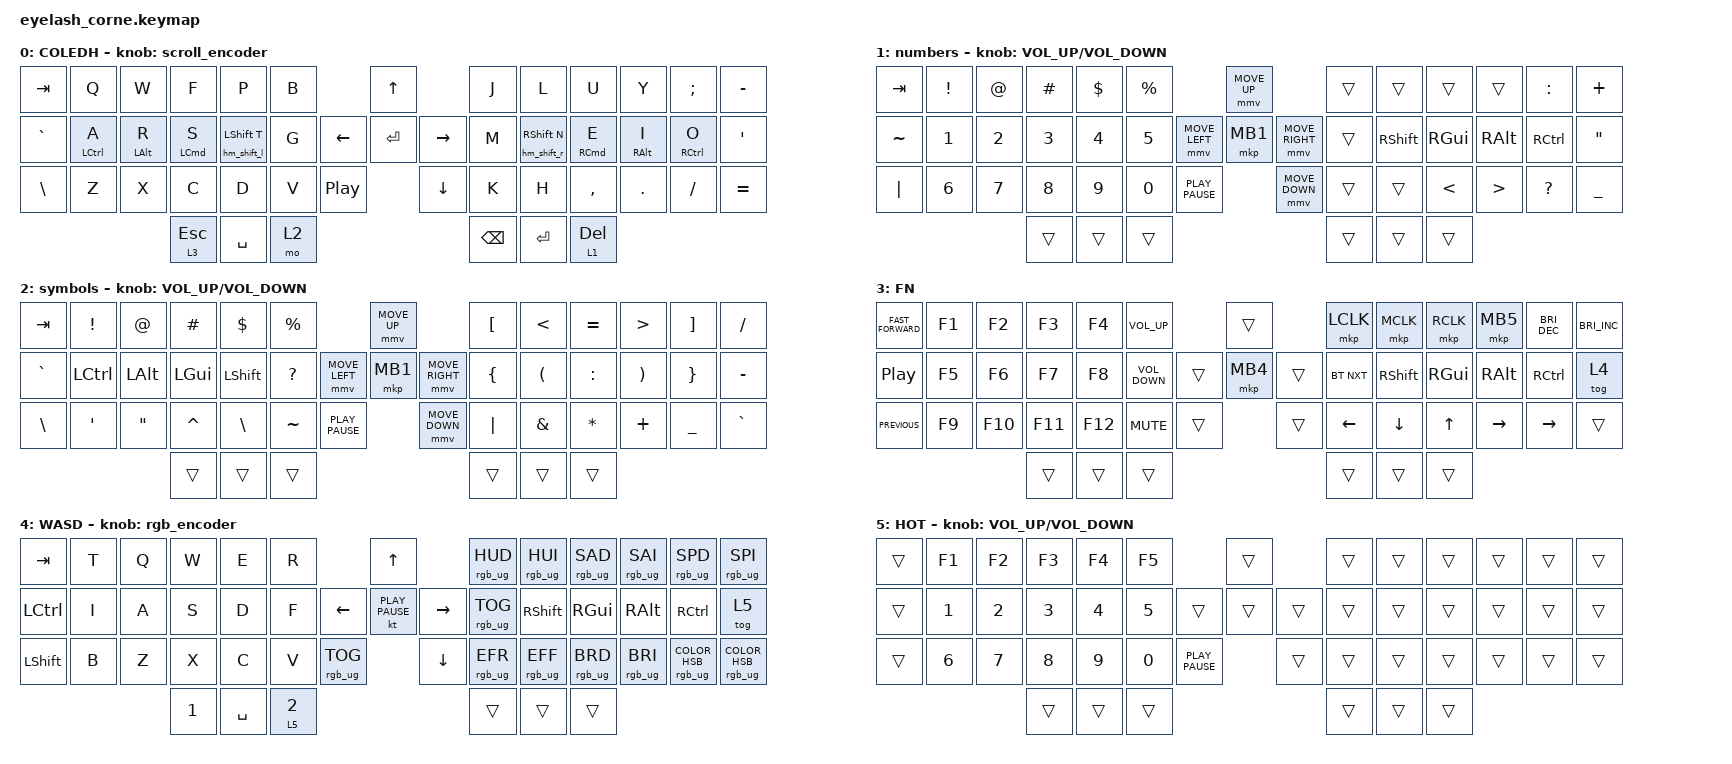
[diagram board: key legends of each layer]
// Source keypos definitions

#include "zmk-helpers/key-labels/eyelash42.h"

#define KEYS_L LT0 LT1 LT2 LT3 LT4 LM0 LM1 LM2 LM3 LM4 LB0 LB1 LB2 LB3 LB4
#define KEYS_R RT0 RT1 RT2 RT3 RT4 RM0 RM1 RM2 RM3 RM4 RB0 RB1 RB2 RB3 RB4
#define KEYS_T LH2 LH1 LH0 RH0 RH1 RH2
#define KEYS_J JS0 JS1 JS2 JS3 JS4 LEC

/* Enable keymap features that require forks or modules */
// #define HAS_UROB

#define HAS_TRI_STATE
#define HAS_MOUSE_KEYS

// #define HAS_MOUSE_TP
// #define HAS_CAPSLOCK
/*
 * Copyright (c) 2020 The ZMK Contributors
 *
 * SPDX-License-Identifier: MIT
 */
// Define layer numbers

#define BASE 0
#define BASE_QWERTY 1
#define NAV_WORD 2
#define NUM_WORD 3
#define SYM_WORD 4
#define NAV 5
#define NUM 6
#define SYM 7
#define FUNC 8
#define ADJUST 9
#define LOWER 10
#define MOUSE_KEYS 11
#define MOUSE_TP 12
#define MOUSE_TP_KEYS 13
#define MOUSE_TP_SET 14

#ifdef HAS_UROB

#define HAS_TRI_STATE
  #define HAS_NUM_WORD

#endif

// ZMK includes

#include <input/processors.dtsi>
#include <zephyr/dt-bindings/input/input-event-codes.h>
#include <behaviors.dtsi>
#include <dt-bindings/zmk/bt.h>
#include <dt-bindings/zmk/keys.h>
#include <dt-bindings/zmk/pointing.h>
#include <dt-bindings/zmk/rgb.h>

// Personal includes

#include "includes/custom_keycodes.dtsi"
#include "includes/settings.dtsi"

//#include "includes/settings_pd.dtsi"

#include "includes/conditional_layers.dtsi"
#include "includes/macros.dtsi"
#include "includes/combos.dtsi"
#include "includes/behaviours_homerow_mods.dtsi"
#include "includes/behaviours_mod_morph.dtsi"
#include "includes/behaviours_other.dtsi"

#ifdef HAS_MOUSE_TP

#define U_TOG_TP_SET &tog MOUSE_TP_SET

#else

#define U_TOG_TP_SET &none

#endif  // HAS_MOUSE_TP
&mmv_input_listener { input-processors = <&zip_xy_scaler 2 1>; };

&msc_input_listener { input-processors = <&zip_scroll_scaler 2 1>; };

&msc {
    acceleration-exponent = <1>;      // 0
    time-to-max-speed-ms = <100>;       // 300
    delay-ms = <0>;                   // 0
};

&mmv {
    time-to-max-speed-ms = <500>;
    acceleration-exponent = <1>;
    trigger-period-ms = <16>;
};

/ {
    behaviors {
        td0: td0 {
            compatible = "zmk,behavior-tap-dance";
            display-name = "Shift/Caps Lock Tap Dance";
            #binding-cells = <0>;
            bindings = <&kp LEFT_SHIFT>, <&kp CAPS>;
        };
    };

    rgb_encoder: rgb_encoder {
        compatible = "zmk,behavior-sensor-rotate";
        #sensor-binding-cells = <0>;
        bindings = <&rgb_ug RGB_BRI>, <&rgb_ug RGB_BRD>;
    };

    scroll_encoder: scroll_encoder {
        compatible = "zmk,behavior-sensor-rotate";
        #sensor-binding-cells = <0>;
        bindings = <&msc SCRL_DOWN>, <&msc SCRL_UP>;

        tap-ms = <100>;
    };

    keymap {
        compatible = "zmk,keymap";

        base_layer {
            bindings = <
&kp TAB        &kp Q                 &kp W             &kp F                 &kp P                    &kp B                                &kp UP               &kp J          &kp L              &kp U                &kp Y            &kp SEMICOLON        &kp MINUS
&kp GRAVE      &hm_l LEFT_CONTROL A  &hm_l LEFT_ALT R  &hm_l LEFT_COMMAND S  &hm_shift_l LEFT_SHIFT T       &kp G                      &kp LEFT  &kp RET   &kp RIGHT  &kp M          &hm_shift_r RIGHT_SHIFT N  &hm_r RIGHT_COMMAND E  &hm_r RIGHT_ALT I  &hm_r RIGHT_CONTROL O  &kp SQT
&kp BACKSLASH  &kp Z                 &kp X             &kp C                 &kp D                    &kp V  &kp C_PLAY_PAUSE              &kp DOWN             &kp K          &kp H              &kp COMMA            &kp PERIOD       &kp SLASH            &kp EQUAL
                                                       &lt 3 ESCAPE          &kp SPACE                &mo 2                                                     &kp BACKSPACE  &kp ENTER          &lt 1 DELETE
            >;

            sensor-bindings = <&scroll_encoder>;
            label = "COLEDH";
        };

        numbers {
            bindings = <
&kp TAB    &kp EXCLAMATION  &kp AT_SIGN  &kp HASH  &kp DOLLAR  &kp PERCENT                                      &mmv MOVE_UP                     &trans  &trans     &trans         &trans            &kp COLON     &kp PLUS
&kp TILDE  &kp N1           &kp N2       &kp N3    &kp N4      &kp N5                           &mmv MOVE_LEFT  &mkp MB1        &mmv MOVE_RIGHT  &trans  &kp RSHFT  &kp RGUI       &kp RALT          &kp RCTRL     &kp DOUBLE_QUOTES
&kp PIPE   &kp N6           &kp N7       &kp N8    &kp N9      &kp N0       &kp K_PLAY_PAUSE                    &mmv MOVE_DOWN                   &trans  &trans     &kp LESS_THAN  &kp GREATER_THAN  &kp QUESTION  &kp UNDER
                                         &trans    &trans      &trans                                                                            &trans  &trans     &trans
            >;

            sensor-bindings = <&inc_dec_kp C_VOLUME_UP C_VOLUME_DOWN>;
        };

        symbols {
            bindings = <
&kp TAB        &kp EXCLAMATION   &kp AT_SIGN        &kp HASH      &kp DOLLAR      &kp PERCENT                                       &mmv MOVE_UP                     &kp LEFT_BRACKET  &kp LESS_THAN         &kp EQUAL     &kp GREATER_THAN       &kp RIGHT_BRACKET  &kp SLASH
&kp GRAVE      &kp LEFT_CONTROL  &kp LEFT_ALT       &kp LEFT_GUI  &kp LEFT_SHIFT  &kp QUESTION                      &mmv MOVE_LEFT  &mkp MB1        &mmv MOVE_RIGHT  &kp LEFT_BRACE    &kp LEFT_PARENTHESIS  &kp COLON     &kp RIGHT_PARENTHESIS  &kp RIGHT_BRACE    &kp MINUS
&kp BACKSLASH  &kp SQT           &kp DOUBLE_QUOTES  &kp CARET     &kp BACKSLASH   &kp TILDE     &kp K_PLAY_PAUSE                    &mmv MOVE_DOWN                   &kp PIPE          &kp AMPERSAND         &kp ASTERISK  &kp PLUS               &kp UNDERSCORE     &kp GRAVE
                                                    &trans        &trans          &trans                                                                             &trans            &trans                &trans
            >;

            sensor-bindings = <&inc_dec_kp C_VOLUME_UP C_VOLUME_DOWN>;
        };

        function_layer {
            bindings = <
&kp C_FAST_FORWARD  &kp F1  &kp F2   &kp F3   &kp F4   &kp C_VOLUME_UP                      &trans            &mkp LCLK   &mkp MCLK  &mkp RCLK  &mkp MB5   &kp C_BRIGHTNESS_DEC  &kp C_BRIGHTNESS_INC
&kp C_PLAY_PAUSE    &kp F5  &kp F6   &kp F7   &kp F8   &kp C_VOLUME_DOWN            &trans  &mkp MB4  &trans  &bt BT_NXT  &kp RSHFT  &kp RGUI   &kp RALT   &kp RCTRL             &tog 4
&kp C_PREVIOUS      &kp F9  &kp F10  &kp F11  &kp F12  &kp K_MUTE         &trans            &trans            &kp LEFT    &kp DOWN   &kp UP     &kp RIGHT  &kp RIGHT             &trans
                                     &trans   &trans   &trans                                                 &trans      &trans     &trans
            >;

            label = "FN";
        };

        gaming_layer {
            bindings = <
&kp TAB    &kp T  &kp Q  &kp W   &kp E      &kp R                                        &kp UP                       &rgb_ug RGB_HUD  &rgb_ug RGB_HUI  &rgb_ug RGB_SAD  &rgb_ug RGB_SAI  &rgb_ug RGB_SPD                    &rgb_ug RGB_SPI
&kp LCTRL  &kp I  &kp A  &kp S   &kp D      &kp F                              &kp LEFT  &kt K_PLAY_PAUSE  &kp RIGHT  &rgb_ug RGB_TOG  &kp RSHFT        &kp RGUI         &kp RALT         &kp RCTRL                          &tog 5
&kp LSHFT  &kp B  &kp Z  &kp X   &kp C      &kp V           &rgb_ug RGB_TOG              &kp DOWN                     &rgb_ug RGB_EFR  &rgb_ug RGB_EFF  &rgb_ug RGB_BRD  &rgb_ug RGB_BRI  &rgb_ug RGB_COLOR_HSB(302,100,50)  &rgb_ug RGB_COLOR_HSB(181,100,50)
                         &kp N1  &kp SPACE  &lt 5 NUMBER_2                                                            &trans           &trans           &trans
            >;

            label = "WASD";
            sensor-bindings = <&rgb_encoder>;
        };

        hotkey_layer {
            bindings = <
&trans  &kp F1  &kp F2  &kp F3  &kp F4  &kp F5                              &trans          &trans  &trans  &trans  &trans  &trans  &trans
&trans  &kp N1  &kp N2  &kp N3  &kp N4  &kp N5                      &trans  &trans  &trans  &trans  &trans  &trans  &trans  &trans  &trans
&trans  &kp N6  &kp N7  &kp N8  &kp N9  &kp N0  &kp K_PLAY_PAUSE            &trans          &trans  &trans  &trans  &trans  &trans  &trans
                        &trans  &trans  &trans                                              &trans  &trans  &trans
            >;

            label = "HOT";
            sensor-bindings = <&inc_dec_kp C_VOLUME_UP C_VOLUME_DOWN>;
        };
    };
};
